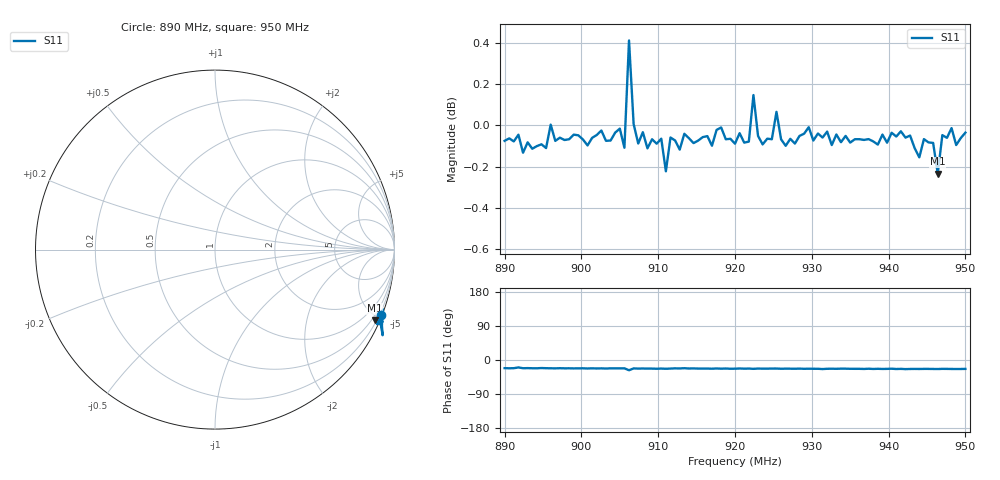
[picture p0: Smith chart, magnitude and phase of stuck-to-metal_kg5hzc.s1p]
# HZ S RI R 50
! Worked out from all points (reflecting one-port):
!   101 points, 890 MHz to 950 MHz, reference 50 ohm
!   lowest |S11| = -0.2 dB at 946.4 MHz (marker M1), VSWR 74.24, Z = 15.8 - j236 ohm
!   phase of S11 starts at -22 deg and turns -2 deg over the sweep
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8.9e8  0.9224 -0.3635
8.912e8  0.9216 -0.3647
8.918e8  0.9371 -0.3341
8.924e8  0.915 -0.3643
8.978e8  0.9196 -0.3716
9.05e8  0.9251 -0.375
9.056e8  0.9159 -0.3693
9.062e8  0.9339 -0.477
9.068e8  0.9267 -0.3779
9.104e8  0.9163 -0.3816
9.11e8  0.8961 -0.3833
9.116e8  0.917 -0.3816
9.128e8  0.9128 -0.3744
9.134e8  0.9252 -0.367
9.2e8  0.9119 -0.3851
9.218e8  0.9149 -0.3808
9.224e8  0.9342 -0.4023
9.23e8  0.9179 -0.3818
9.254e8  0.9308 -0.3861
9.26e8  0.9131 -0.3884
9.278e8  0.9105 -0.3885
9.314e8  0.9083 -0.4018
9.35e8  0.9104 -0.3901
9.428e8  0.9108 -0.3989
9.458e8  0.9071 -0.3973
9.464e8  0.8906 -0.3928
9.47e8  0.9129 -0.3948
9.5e8  0.9134 -0.397
